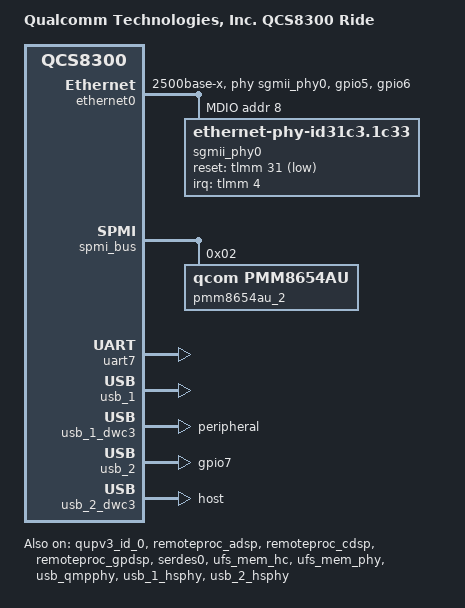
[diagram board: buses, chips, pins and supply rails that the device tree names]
// SPDX-License-Identifier: BSD-3-Clause
/*
 * Copyright (c) 2024 Qualcomm Innovation Center, Inc. All rights reserved.
 */

/dts-v1/;

#include <dt-bindings/gpio/gpio.h>
#include <dt-bindings/regulator/qcom,rpmh-regulator.h>
#include <dt-bindings/spmi/spmi.h>

#include "qcs8300.dtsi"
/ {
	model = "Qualcomm Technologies, Inc. QCS8300 Ride";
	compatible = "qcom,qcs8300-ride", "qcom,qcs8275", "qcom,qcs8300";

	qcom,msm-id = <606 0x10000>, <674 0x10000>, <675 0x10000>;
	qcom,board-id = <0x00010019 0>, <0x01010019 1>;

	aliases {
		serial0 = &uart7;
	};

	chosen {
		stdout-path = "serial0:115200n8";
	};
};

&apps_rsc {
	regulators-0 {
		compatible = "qcom,pmm8654au-rpmh-regulators";
		qcom,pmic-id = "a";

		vreg_s4a: smps4 {
			regulator-name = "vreg_s4a";
			regulator-min-microvolt = <1800000>;
			regulator-max-microvolt = <1800000>;
			regulator-initial-mode = <RPMH_REGULATOR_MODE_HPM>;
		};

		vreg_s9a: smps9 {
			regulator-name = "vreg_s9a";
			regulator-min-microvolt = <1352000>;
			regulator-max-microvolt = <1352000>;
			regulator-initial-mode = <RPMH_REGULATOR_MODE_HPM>;
		};

		vreg_l3a: ldo3 {
			regulator-name = "vreg_l3a";
			regulator-min-microvolt = <1200000>;
			regulator-max-microvolt = <1200000>;
			regulator-initial-mode = <RPMH_REGULATOR_MODE_HPM>;
			regulator-allow-set-load;
			regulator-allowed-modes = <RPMH_REGULATOR_MODE_LPM
						   RPMH_REGULATOR_MODE_HPM>;
		};

		vreg_l4a: ldo4 {
			regulator-name = "vreg_l4a";
			regulator-min-microvolt = <880000>;
			regulator-max-microvolt = <912000>;
			regulator-initial-mode = <RPMH_REGULATOR_MODE_HPM>;
			regulator-allow-set-load;
			regulator-allowed-modes = <RPMH_REGULATOR_MODE_LPM
						   RPMH_REGULATOR_MODE_HPM>;
		};

		vreg_l5a: ldo5 {
			regulator-name = "vreg_l5a";
			regulator-min-microvolt = <1200000>;
			regulator-max-microvolt = <1200000>;
			regulator-initial-mode = <RPMH_REGULATOR_MODE_HPM>;
			regulator-allow-set-load;
			regulator-allowed-modes = <RPMH_REGULATOR_MODE_LPM
						   RPMH_REGULATOR_MODE_HPM>;
		};

		vreg_l6a: ldo6 {
			regulator-name = "vreg_l6a";
			regulator-min-microvolt = <880000>;
			regulator-max-microvolt = <912000>;
			regulator-initial-mode = <RPMH_REGULATOR_MODE_HPM>;
			regulator-allow-set-load;
			regulator-allowed-modes = <RPMH_REGULATOR_MODE_LPM
						   RPMH_REGULATOR_MODE_HPM>;
		};

		vreg_l7a: ldo7 {
			regulator-name = "vreg_l7a";
			regulator-min-microvolt = <880000>;
			regulator-max-microvolt = <912000>;
			regulator-initial-mode = <RPMH_REGULATOR_MODE_HPM>;
			regulator-allow-set-load;
			regulator-allowed-modes = <RPMH_REGULATOR_MODE_LPM
						   RPMH_REGULATOR_MODE_HPM>;
		};

		vreg_l8a: ldo8 {
			regulator-name = "vreg_l8a";
			regulator-min-microvolt = <2504000>;
			regulator-max-microvolt = <2960000>;
			regulator-initial-mode = <RPMH_REGULATOR_MODE_HPM>;
			regulator-allow-set-load;
			regulator-allowed-modes = <RPMH_REGULATOR_MODE_LPM
						   RPMH_REGULATOR_MODE_HPM>;
		};

		vreg_l9a: ldo9 {
			regulator-name = "vreg_l9a";
			regulator-min-microvolt = <2970000>;
			regulator-max-microvolt = <3072000>;
			regulator-initial-mode = <RPMH_REGULATOR_MODE_HPM>;
			regulator-allow-set-load;
			regulator-allowed-modes = <RPMH_REGULATOR_MODE_LPM
						   RPMH_REGULATOR_MODE_HPM>;
		};
	};

	regulators-1 {
		compatible = "qcom,pmm8654au-rpmh-regulators";
		qcom,pmic-id = "c";

		vreg_s5c: smps5 {
			regulator-name = "vreg_s5c";
			regulator-min-microvolt = <1104000>;
			regulator-max-microvolt = <1104000>;
			regulator-initial-mode = <RPMH_REGULATOR_MODE_HPM>;
		};

		vreg_l1c: ldo1 {
			regulator-name = "vreg_l1c";
			regulator-min-microvolt = <300000>;
			regulator-max-microvolt = <500000>;
			regulator-initial-mode = <RPMH_REGULATOR_MODE_HPM>;
			regulator-allow-set-load;
			regulator-allowed-modes = <RPMH_REGULATOR_MODE_LPM
						   RPMH_REGULATOR_MODE_HPM>;
		};

		vreg_l2c: ldo2 {
			regulator-name = "vreg_l2c";
			regulator-min-microvolt = <900000>;
			regulator-max-microvolt = <904000>;
			regulator-initial-mode = <RPMH_REGULATOR_MODE_HPM>;
			regulator-allow-set-load;
			regulator-allowed-modes = <RPMH_REGULATOR_MODE_LPM
						   RPMH_REGULATOR_MODE_HPM>;
		};

		vreg_l4c: ldo4 {
			regulator-name = "vreg_l4c";
			regulator-min-microvolt = <1200000>;
			regulator-max-microvolt = <1200000>;
			regulator-initial-mode = <RPMH_REGULATOR_MODE_HPM>;
			regulator-allow-set-load;
			regulator-allowed-modes = <RPMH_REGULATOR_MODE_LPM
						   RPMH_REGULATOR_MODE_HPM>;
		};

		vreg_l6c: ldo6 {
			regulator-name = "vreg_l6c";
			regulator-min-microvolt = <1800000>;
			regulator-max-microvolt = <1800000>;
			regulator-initial-mode = <RPMH_REGULATOR_MODE_HPM>;
			regulator-allow-set-load;
			regulator-allowed-modes = <RPMH_REGULATOR_MODE_LPM
						   RPMH_REGULATOR_MODE_HPM>;
		};

		vreg_l7c: ldo7 {
			regulator-name = "vreg_l7c";
			regulator-min-microvolt = <1800000>;
			regulator-max-microvolt = <1800000>;
			regulator-initial-mode = <RPMH_REGULATOR_MODE_HPM>;
			regulator-allow-set-load;
			regulator-allowed-modes = <RPMH_REGULATOR_MODE_LPM
						   RPMH_REGULATOR_MODE_HPM>;
		};

		vreg_l8c: ldo8 {
			regulator-name = "vreg_l8c";
			regulator-min-microvolt = <1800000>;
			regulator-max-microvolt = <1800000>;
			regulator-initial-mode = <RPMH_REGULATOR_MODE_HPM>;
			regulator-allow-set-load;
			regulator-allowed-modes = <RPMH_REGULATOR_MODE_LPM
						   RPMH_REGULATOR_MODE_HPM>;
		};

		vreg_l9c: ldo9 {
			regulator-name = "vreg_l9c";
			regulator-min-microvolt = <1800000>;
			regulator-max-microvolt = <1800000>;
			regulator-initial-mode = <RPMH_REGULATOR_MODE_HPM>;
			regulator-allow-set-load;
			regulator-allowed-modes = <RPMH_REGULATOR_MODE_LPM
						   RPMH_REGULATOR_MODE_HPM>;
		};
	};
};

&ethernet0 {
	phy-mode = "2500base-x";
	phy-handle = <&sgmii_phy0>;

	pinctrl-0 = <&ethernet0_default>;
	pinctrl-names = "default";

	snps,mtl-rx-config = <&mtl_rx_setup>;
	snps,mtl-tx-config = <&mtl_tx_setup>;
	snps,ps-speed = <1000>;

	status = "okay";

	mdio {
		compatible = "snps,dwmac-mdio";
		#address-cells = <1>;
		#size-cells = <0>;

		sgmii_phy0: phy@8 {
			compatible = "ethernet-phy-id31c3.1c33";
			reg = <0x8>;
			device_type = "ethernet-phy";
			interrupts-extended = <&tlmm 4 IRQ_TYPE_EDGE_FALLING>;
			reset-gpios = <&tlmm 31 GPIO_ACTIVE_LOW>;
			reset-assert-us = <11000>;
			reset-deassert-us = <70000>;
		};
	};

	mtl_rx_setup: rx-queues-config {
		snps,rx-queues-to-use = <4>;
		snps,rx-sched-sp;

		queue0 {
			snps,dcb-algorithm;
			snps,map-to-dma-channel = <0x0>;
			snps,route-up;
			snps,priority = <0x1>;
		};

		queue1 {
			snps,dcb-algorithm;
			snps,map-to-dma-channel = <0x1>;
			snps,route-ptp;
		};

		queue2 {
			snps,avb-algorithm;
			snps,map-to-dma-channel = <0x2>;
			snps,route-avcp;
		};

		queue3 {
			snps,avb-algorithm;
			snps,map-to-dma-channel = <0x3>;
			snps,priority = <0xc>;
		};
	};

	mtl_tx_setup: tx-queues-config {
		snps,tx-queues-to-use = <4>;
		snps,tx-sched-sp;

		queue0 {
			snps,dcb-algorithm;
		};

		queue1 {
			snps,dcb-algorithm;
		};

		queue2 {
			snps,avb-algorithm;
			snps,send_slope = <0x1000>;
			snps,idle_slope = <0x1000>;
			snps,high_credit = <0x3e800>;
			snps,low_credit = <0xffc18000>;
		};

		queue3 {
			snps,avb-algorithm;
			snps,send_slope = <0x1000>;
			snps,idle_slope = <0x1000>;
			snps,high_credit = <0x3e800>;
			snps,low_credit = <0xffc18000>;
		};
	};
};

&spmi_bus {
	pmm8654au_2: pmic@2 {
		compatible = "qcom,pmm8654au", "qcom,spmi-pmic";
		reg = <2 SPMI_USID>;
		#address-cells = <1>;
		#size-cells = <0>;

		pmm8654au_2_gpios: gpio@8800 {
			compatible = "qcom,pmm8654au-gpio", "qcom,spmi-gpio";
			reg = <0x8800>;
			gpio-controller;
			gpio-ranges = <&pmm8654au_2_gpios 0 0 12>;
			#gpio-cells = <2>;
			interrupt-controller;
			#interrupt-cells = <2>;
		};
	};
};

&tlmm {
	ethernet0_default: ethernet0-default-state {
		ethernet0_mdc: ethernet0-mdc-pins {
			pins = "gpio5";
			function = "emac0_mdc";
			drive-strength = <16>;
			bias-pull-up;
		};

		ethernet0_mdio: ethernet0-mdio-pins {
			pins = "gpio6";
			function = "emac0_mdio";
			drive-strength = <16>;
			bias-pull-up;
		};
	};
};

&qupv3_id_0 {
	status = "okay";
};

&remoteproc_adsp {
	firmware-name = "qcom/qcs8300/adsp.mbn";
	status = "okay";
};

&remoteproc_cdsp {
	firmware-name = "qcom/qcs8300/cdsp0.mbn";
	status = "okay";
};

&remoteproc_gpdsp {
	firmware-name = "qcom/qcs8300/gpdsp0.mbn";
	status = "okay";
};

&serdes0 {
	phy-supply = <&vreg_l5a>;
	status = "okay";
};

&uart7 {
	status = "okay";
};

&ufs_mem_hc {
	reset-gpios = <&tlmm 133 GPIO_ACTIVE_LOW>;
	vcc-supply = <&vreg_l8a>;
	vcc-max-microamp = <1100000>;
	vccq-supply = <&vreg_l4c>;
	vccq-max-microamp = <1200000>;
	status = "okay";
};

&ufs_mem_phy {
	vdda-phy-supply = <&vreg_l4a>;
	vdda-pll-supply = <&vreg_l5a>;
	status = "okay";
};

&pmm8654au_2_gpios {
	usb1_en_state: usb1-en-state {
		pins = "gpio7";
		function = "normal";
		output-high;
		power-source = <0>;
	};
};

&usb_qmpphy {
	vdda-phy-supply = <&vreg_l7a>;
	vdda-pll-supply = <&vreg_l5a>;

	status = "okay";
};

&usb_1_hsphy {
	vdda-pll-supply = <&vreg_l7a>;
	vdda18-supply = <&vreg_l7c>;
	vdda33-supply = <&vreg_l9a>;

	status = "okay";
};

&usb_2_hsphy {
	vdda-pll-supply = <&vreg_l7a>;
	vdda18-supply = <&vreg_l7c>;
	vdda33-supply = <&vreg_l9a>;

	status = "okay";
};

&usb_1 {
	status = "okay";
};

&usb_1_dwc3 {
	dr_mode = "peripheral";
};

&usb_2 {
	pinctrl-names = "default";
	pinctrl-0 = <&usb1_en_state>;
	status = "okay";
};

&usb_2_dwc3 {
	dr_mode = "host";
};
